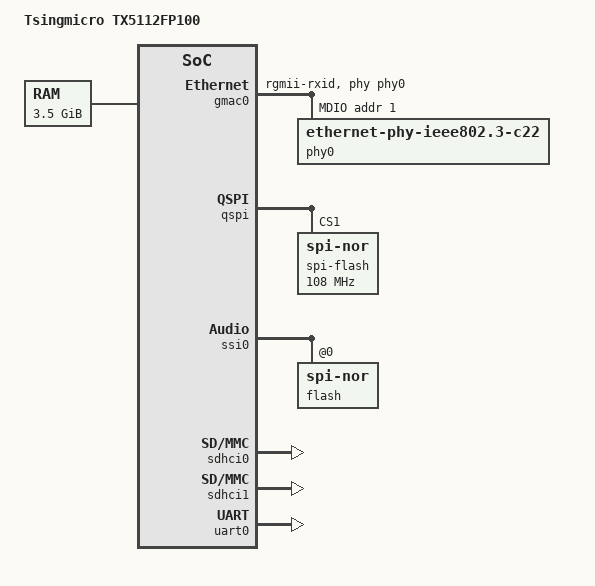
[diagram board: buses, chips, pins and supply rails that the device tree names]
// SPDX-License-Identifier: GPL-2.0+
/*
 * dts file for Xilinx ZynqMP ZCU106
 *
 * (C) Copyright 2016 - 2020, Xilinx, Inc.
 *
 * Michal Simek <michal.simek@xilinx.com>
 */

/dts-v1/;

#include "ts_tx5112.dtsi"
#include "ts-tx5112-clk-ccf-fpga.dtsi"
#include "ts-tx5112-reset-fpga.dtsi"
#include "ts-tx5112-pinctrl-fpga.dtsi"
#include <dt-bindings/input/input.h>
#include <dt-bindings/gpio/gpio.h>
#include <dt-bindings/phy/phy.h>

/ {
	model = "Tsingmicro TX5112FP100";
	compatible = "ts,tx5112fp100";

	aliases {
		gpio0 = &gpio0;
		mmc0 = &sdhci0;
		sd0 = &sdhci1;
		serial0 = &uart0;
		spi0 = &qspi;
		spi1 = &ssi0;
	};

	chosen {
		bootargs = "earlycon";
		stdout-path = "serial0:115200n8";
	};

	memory@0 {
		device_type = "memory";
		reg = <0x0 0xe0000000>; //<0x8 0x00000000 0x0 0x80000000>;
	};
};

&gmac0 {
	status = "okay";
	phy-handle = <&phy0>;
	phy-mode = "rgmii-rxid";
	pinctrl-names = "default";
	pinctrl-0 = <&mac0_pinctrl0>, <&mac0_pinctrl1>, <&mac0_pinctrl2>;
	mdio {
		#address-cells = <0x1>;
		#size-cells = <0x0>;
		phy0: phy@0 {
			compatible = "ethernet-phy-ieee802.3-c22";
			device_type = "ethernet-phy";
			reg = <0x1>;
		};
	};
};

&qspi {
	status = "okay";
	page-size = <256>;
	block-size = <16>;
	#address-cells = <1>;
	#size-cells = <0>;
#if 0
	nand1:spi-nand@0 {
		status = "okay";
		compatible = "spi-nand";
		reg = <0>; /* CS0 */
		//spi-max-frequency = <40000000>;
		spi-max-frequency = <20000000>;
		page-size = <2048>;
		block-size = <131072>;
		spi-rx-bus-width = <4>;
		spi-tx-bus-width = <4>;

		partitions {
			compatible = "fixed-partitions";
			#address-cells = <1>;
			#size-cells = <1>;

			/* reserved for future boot direct from NAND flash
			 * (this would use the same layout as the 8MiB NOR flash)
			 */
			partition@0 {
				label = "nand-boot-reserved";
				reg = <0 0x800000>;
			};

			/* recovery / install environment */
			partition@800000 {
				label = "recovery";
				reg = <0x800000 0x2000000>;
			};

			/* ubia (first OpenWrt) - a/b names to prevent confusion with ubi0/1/etc. */
			partition@2800000 {
				label = "ubia";
				reg = <0x2800000 0x6C00000>;
			};

			/* ubib (second OpenWrt) */
			partition@9400000 {
				label = "ubib";
				reg = <0x9400000 0x6C00000>;
			};
		};
	};
#endif
	spi-flash@0 {
		compatible = "jedec,spi-nor";
		spi-max-frequency = <108000000>; /* Based on DC1 spec */
		reg = <1>; /* CS1 */
	};
};

&ssi0 {
	status = "okay";
	flash@0 {
		compatible = "jedec,spi-nor";
	};
};

&pinctrl {
	status = "okay";
};

&sdhci0 {
	status = "okay";
};
&sdhci1 {
	status = "okay";
};

&uart0 {
	status = "okay";
};
&gpio0 {
	status = "okay";
};
&gpio1 {
	status = "okay";
};
